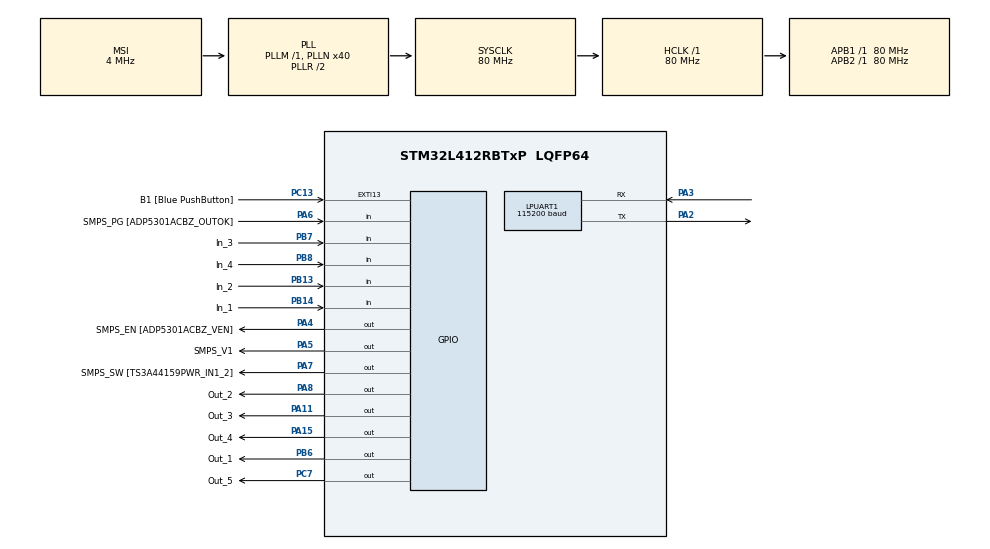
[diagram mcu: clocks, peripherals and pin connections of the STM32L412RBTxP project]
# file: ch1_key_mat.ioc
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LPUART1.BaudRate=115200
LPUART1.WordLength=UART_WORDLENGTH_8B
Mcu.Family=STM32L4
Mcu.Name=STM32L412RBTxP
Mcu.Package=LQFP64
NVIC.PriorityGroup=NVIC_PRIORITYGROUP_4
PA11.GPIO_Label=Out_3
PA11.GPIO_PuPd=GPIO_PULLUP
PA11.PinState=GPIO_PIN_RESET
PA11.Signal=GPIO_Output
PA13\ (JTMS/SWDIO).GPIO_Label=TMS
PA13\ (JTMS/SWDIO).Mode=Serial_Wire
PA13\ (JTMS/SWDIO).Signal=SYS_JTMS-SWDIO
PA14\ (JTCK/SWCLK).GPIO_Label=TCK
PA14\ (JTCK/SWCLK).Mode=Serial_Wire
PA14\ (JTCK/SWCLK).Signal=SYS_JTCK-SWCLK
PA15\ (JTDI).GPIO_Label=Out_4
PA15\ (JTDI).GPIO_PuPd=GPIO_PULLUP
PA15\ (JTDI).PinState=GPIO_PIN_RESET
PA15\ (JTDI).Signal=GPIO_Output
PA2.Mode=Asynchronous
PA2.Signal=LPUART1_TX
PA3.Mode=Asynchronous
PA3.Signal=LPUART1_RX
PA4.GPIO_Label=SMPS_EN [ADP5301ACBZ_VEN]
PA4.Signal=GPIO_Output
PA5.GPIO_Label=SMPS_V1
PA5.GPIO_ModeDefaultOutputPP=GPIO_MODE_OUTPUT_PP
PA5.GPIO_PuPd=GPIO_NOPULL
PA5.GPIO_Speed=GPIO_SPEED_FREQ_LOW
PA5.Signal=GPIO_Output
PA6.GPIO_Label=SMPS_PG [ADP5301ACBZ_OUTOK]
PA6.GPIO_PuPd=GPIO_PULLUP
PA6.Signal=GPIO_Input
PA7.GPIO_Label=SMPS_SW [TS3A44159PWR_IN1_2]
PA7.Signal=GPIO_Output
PA8.GPIO_Label=Out_2
PA8.GPIO_PuPd=GPIO_PULLUP
PA8.PinState=GPIO_PIN_RESET
PA8.Signal=GPIO_Output
PB13.GPIO_Label=In_2
PB13.GPIO_PuPd=GPIO_NOPULL
PB13.Signal=GPIO_Input
PB14.GPIO_Label=In_1
PB14.GPIO_PuPd=GPIO_NOPULL
PB14.Signal=GPIO_Input
PB3\ (JTDO/TRACESWO).GPIO_Label=SWO
PB3\ (JTDO/TRACESWO).Signal=SYS_JTDO-SWO
PB6.GPIO_Label=Out_1
PB6.GPIO_PuPd=GPIO_PULLUP
PB6.PinState=GPIO_PIN_RESET
PB6.Signal=GPIO_Output
PB7.GPIO_Label=In_3
PB7.GPIO_PuPd=GPIO_NOPULL
PB7.Signal=GPIO_Input
PB8.GPIO_Label=In_4
PB8.GPIO_PuPd=GPIO_NOPULL
PB8.Signal=GPIO_Input
PC13.GPIO_Label=B1 [Blue PushButton]
PC13.GPIO_ModeDefaultEXTI=GPIO_MODE_IT_FALLING
PC13.GPIO_PuPd=GPIO_NOPULL
PC13.Signal=GPXTI13
PC14-OSC32_IN\ (PC14).Mode=LSE-External-Oscillator
PC14-OSC32_IN\ (PC14).Signal=RCC_OSC32_IN
PC15-OSC32_OUT\ (PC15).Mode=LSE-External-Oscillator
PC15-OSC32_OUT\ (PC15).Signal=RCC_OSC32_OUT
PC7.GPIO_Label=Out_5
PC7.GPIO_ModeDefaultOutputPP=GPIO_MODE_OUTPUT_PP
PC7.GPIO_PuPd=GPIO_PULLUP
PC7.Signal=GPIO_Output
PH0-OSC_IN\ (PH0).GPIO_Label=MCO
PH0-OSC_IN\ (PH0).Mode=HSE-External-Clock-Source
PH0-OSC_IN\ (PH0).Signal=RCC_OSC_IN
PH1-OSC_OUT\ (PH1).Signal=RCC_OSC_OUT
ProjectManager.HeapSize=0x200
ProjectManager.StackSize=0x400
ProjectManager.TargetToolchain=STM32CubeIDE
RCC.ADCFreq_Value=80000000
RCC.AHBFreq_Value=80000000
RCC.APB1Freq_Value=80000000
RCC.APB1TimFreq_Value=80000000
RCC.APB2Freq_Value=80000000
RCC.APB2TimFreq_Value=80000000
RCC.CortexFreq_Value=80000000
RCC.FLatency=FLASH_LATENCY_4
RCC.HCLKFreq_Value=80000000
RCC.HSE_VALUE=8000000
RCC.HSI48_VALUE=48000000
RCC.HSICalibrationValue=64
RCC.HSI_VALUE=16000000
RCC.MSIAutoCalibration=DISABLED
RCC.MSI_VALUE=4000000
RCC.PLLN=40
RCC.PREFETCH_ENABLE=1
RCC.SYSCLKFreq_VALUE=80000000
RCC.SYSCLKSource=RCC_SYSCLKSOURCE_PLLCLK
RCC.USBFreq_Value=4000000
RCC.VCOOutputFreq_Value=160000000
board=NUCLEO-L412RB-P

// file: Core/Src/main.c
/* USER CODE BEGIN Header */
/**
  ******************************************************************************
  * @file           : main.c
  * @brief          : Main program body
  ******************************************************************************
  * @attention
  *
  * Copyright (c) 2026 STMicroelectronics.
  * All rights reserved.
  *
  * This software is licensed under terms that can be found in the LICENSE file
  * in the root directory of this software component.
  * If no LICENSE file comes with this software, it is provided AS-IS.
  *
  ******************************************************************************
  */
/* USER CODE END Header */
#include "main.h"

/* USER CODE BEGIN PD */
// #define SET_OUT1_PIN() \
//   set_all_rows_input(); \
//   set_row_output_1();
// #define SET_OUT2_PIN() \
//   set_all_rows_input(); \
//   set_row_output_2();
// #define SET_OUT3_PIN() \
//   set_all_rows_input(); \
//   set_row_output_3();
// #define SET_OUT5_PIN() \
//   set_all_rows_input(); \
//   set_row_output_5();

/* USER CODE END PD */

UART_HandleTypeDef hlpuart1;

void SystemClock_Config(void);
static void MX_GPIO_Init(void);
static void MX_LPUART1_UART_Init(void);

/* USER CODE BEGIN 0 */
//add
#include <stdio.h>
#include <string.h>
#include <unistd.h>

static uint8_t key[4][4];
static uint8_t prev_key[4][4];

static void scan_keypad_to_array(void);
static void process_press_events(void);
// input - output 변경 함수들
static void set_all_rows_input(void);
static void set_row_output_1(void);
static void set_row_output_2(void);
static void set_row_output_3(void);
static void set_row_output_5(void);

#define SET_OUT1_PIN() \
  set_all_rows_input(); \
  set_row_output_1();
#define SET_OUT2_PIN() \
  set_all_rows_input(); \
  set_row_output_2();
#define SET_OUT3_PIN() \
  set_all_rows_input(); \
  set_row_output_3();
#define SET_OUT5_PIN() \
  set_all_rows_input(); \
  set_row_output_5();

//UART로 출력 보내기 위한 함수
int _write(int file, char *ptr, int len)
{
  if (file == STDOUT_FILENO)
  {
    HAL_UART_Transmit(&hlpuart1, (uint8_t*)ptr, len, HAL_MAX_DELAY);
    return len;
  }
  return -1;
}

static void uart_print(const char *s)
{
  HAL_UART_Transmit(&hlpuart1, (uint8_t*)s, (uint16_t)strlen(s), HAL_MAX_DELAY);
}
/* USER CODE END 0 */

int main(void)
{

  /* MCU Configuration--------------------------------------------------------*/

  /* Reset of all peripherals, Initializes the Flash interface and the Systick. */
  HAL_Init();

  /* Configure the system clock */
  SystemClock_Config();

  /* Initialize all configured peripherals */
  MX_GPIO_Init();
  MX_LPUART1_UART_Init();
  /* USER CODE BEGIN 2 */

	// add
	// 이후로 정의 MX_GPIO_Init();

  //add -
  //memset 의미 확인하기
  memset(key, 0, sizeof(key));
  memset(prev_key, 0, sizeof(prev_key));

  uart_print("Keypad start\r\n");

  /* USER CODE END 2 */

  /* Infinite loop */
  while (1)
  {

    /* USER CODE BEGIN 3 */
    scan_keypad_to_array();
    process_press_events();

    HAL_Delay(20);
  }

  /* USER CODE END 3 */
}

void SystemClock_Config(void)
{
  RCC_OscInitTypeDef RCC_OscInitStruct = {0};
  RCC_ClkInitTypeDef RCC_ClkInitStruct = {0};

  /** Configure the main internal regulator output voltage
  */
  if (HAL_PWREx_ControlVoltageScaling(PWR_REGULATOR_VOLTAGE_SCALE1) != HAL_OK)
  {
    Error_Handler();
  }

  /** Initializes the RCC Oscillators according to the specified parameters
  * in the RCC_OscInitTypeDef structure.
  */
  RCC_OscInitStruct.OscillatorType = RCC_OSCILLATORTYPE_MSI;
  RCC_OscInitStruct.MSIState = RCC_MSI_ON;
  RCC_OscInitStruct.MSICalibrationValue = 0;
  RCC_OscInitStruct.MSIClockRange = RCC_MSIRANGE_6;
  RCC_OscInitStruct.PLL.PLLState = RCC_PLL_ON;
  RCC_OscInitStruct.PLL.PLLSource = RCC_PLLSOURCE_MSI;
  RCC_OscInitStruct.PLL.PLLM = 1;
  RCC_OscInitStruct.PLL.PLLN = 40;
  RCC_OscInitStruct.PLL.PLLQ = RCC_PLLQ_DIV2;
  RCC_OscInitStruct.PLL.PLLR = RCC_PLLR_DIV2;
  if (HAL_RCC_OscConfig(&RCC_OscInitStruct) != HAL_OK)
  {
    Error_Handler();
  }

  /** Initializes the CPU, AHB and APB buses clocks
  */
  RCC_ClkInitStruct.ClockType = RCC_CLOCKTYPE_HCLK|RCC_CLOCKTYPE_SYSCLK
                              |RCC_CLOCKTYPE_PCLK1|RCC_CLOCKTYPE_PCLK2;
  RCC_ClkInitStruct.SYSCLKSource = RCC_SYSCLKSOURCE_PLLCLK;
  RCC_ClkInitStruct.AHBCLKDivider = RCC_SYSCLK_DIV1;
  RCC_ClkInitStruct.APB1CLKDivider = RCC_HCLK_DIV1;
  RCC_ClkInitStruct.APB2CLKDivider = RCC_HCLK_DIV1;

  if (HAL_RCC_ClockConfig(&RCC_ClkInitStruct, FLASH_LATENCY_4) != HAL_OK)
  {
    Error_Handler();
  }
}

static void MX_LPUART1_UART_Init(void)
{

  hlpuart1.Instance = LPUART1;
  hlpuart1.Init.BaudRate = 115200;
  hlpuart1.Init.WordLength = UART_WORDLENGTH_8B;
  hlpuart1.Init.StopBits = UART_STOPBITS_1;
  hlpuart1.Init.Parity = UART_PARITY_NONE;
  hlpuart1.Init.Mode = UART_MODE_TX_RX;
  hlpuart1.Init.HwFlowCtl = UART_HWCONTROL_NONE;
  hlpuart1.Init.OneBitSampling = UART_ONE_BIT_SAMPLE_DISABLE;
  hlpuart1.AdvancedInit.AdvFeatureInit = UART_ADVFEATURE_NO_INIT;
  if (HAL_UART_Init(&hlpuart1) != HAL_OK)
  {
    Error_Handler();
  }

}

static void MX_GPIO_Init(void)
{
  GPIO_InitTypeDef GPIO_InitStruct = {0};

  /* GPIO Ports Clock Enable */
  __HAL_RCC_GPIOC_CLK_ENABLE();
  __HAL_RCC_GPIOH_CLK_ENABLE();
  __HAL_RCC_GPIOA_CLK_ENABLE();
  __HAL_RCC_GPIOB_CLK_ENABLE();

  /*Configure GPIO pin Output Level */
  HAL_GPIO_WritePin(GPIOA, SMPS_EN_Pin|SMPS_V1_Pin|SMPS_SW_Pin|Out_2_Pin
                          |Out_3_Pin|Out_4_Pin, GPIO_PIN_RESET);

  /*Configure GPIO pin Output Level */
  HAL_GPIO_WritePin(Out_5_GPIO_Port, Out_5_Pin, GPIO_PIN_RESET);

  /*Configure GPIO pin Output Level */
  HAL_GPIO_WritePin(Out_1_GPIO_Port, Out_1_Pin, GPIO_PIN_RESET);

  /*Configure GPIO pin : B1_Pin */
  GPIO_InitStruct.Pin = B1_Pin;
  GPIO_InitStruct.Mode = GPIO_MODE_IT_FALLING;
  GPIO_InitStruct.Pull = GPIO_NOPULL;
  HAL_GPIO_Init(B1_GPIO_Port, &GPIO_InitStruct);

  /*Configure GPIO pins : SMPS_EN_Pin SMPS_V1_Pin SMPS_SW_Pin Out_2_Pin
                           Out_3_Pin Out_4_Pin */
  GPIO_InitStruct.Pin = SMPS_EN_Pin|SMPS_V1_Pin|SMPS_SW_Pin|Out_2_Pin
                          |Out_3_Pin|Out_4_Pin;
  GPIO_InitStruct.Mode = GPIO_MODE_OUTPUT_PP;
  GPIO_InitStruct.Pull = GPIO_NOPULL;
  GPIO_InitStruct.Speed = GPIO_SPEED_FREQ_LOW;
  HAL_GPIO_Init(GPIOA, &GPIO_InitStruct);

  /*Configure GPIO pin : SMPS_PG_Pin */
  GPIO_InitStruct.Pin = SMPS_PG_Pin;
  GPIO_InitStruct.Mode = GPIO_MODE_INPUT;
  GPIO_InitStruct.Pull = GPIO_PULLUP;
  HAL_GPIO_Init(SMPS_PG_GPIO_Port, &GPIO_InitStruct);

  /*Configure GPIO pins : In_2_Pin In_1_Pin In_3_Pin In_4_Pin */
  GPIO_InitStruct.Pin = In_2_Pin|In_1_Pin|In_3_Pin|In_4_Pin;
  GPIO_InitStruct.Mode = GPIO_MODE_INPUT;
  GPIO_InitStruct.Pull = GPIO_PULLDOWN;
  HAL_GPIO_Init(GPIOB, &GPIO_InitStruct);

  /*Configure GPIO pin : Out_5_Pin */
  GPIO_InitStruct.Pin = Out_5_Pin;
  GPIO_InitStruct.Mode = GPIO_MODE_OUTPUT_PP;
  GPIO_InitStruct.Pull = GPIO_NOPULL;
  GPIO_InitStruct.Speed = GPIO_SPEED_FREQ_LOW;
  HAL_GPIO_Init(Out_5_GPIO_Port, &GPIO_InitStruct);

  /*Configure GPIO pin : Out_1_Pin */
  GPIO_InitStruct.Pin = Out_1_Pin;
  GPIO_InitStruct.Mode = GPIO_MODE_OUTPUT_PP;
  GPIO_InitStruct.Pull = GPIO_NOPULL;
  GPIO_InitStruct.Speed = GPIO_SPEED_FREQ_LOW;
  HAL_GPIO_Init(Out_1_GPIO_Port, &GPIO_InitStruct);

}

/* USER CODE BEGIN 4 */

static void scan_keypad_to_array(void)
{
  // GPIO_PinState 활용하는 것도 고려해보기
  //GPIO_PinState input[1], input_2, input_3, input_4;

  uint32_t input[4];

  //row 0
  SET_OUT1_PIN();
  HAL_Delay(5);

  input[0] = HAL_GPIO_ReadPin(In_1_GPIO_Port, In_1_Pin);
  input[1] = HAL_GPIO_ReadPin(In_2_GPIO_Port, In_2_Pin);
  input[2] = HAL_GPIO_ReadPin(In_3_GPIO_Port, In_3_Pin);
  input[3] = HAL_GPIO_ReadPin(In_4_GPIO_Port, In_4_Pin);

   for (uint8_t i = 0; i < 4; i++)
  {
    /* code */
    // (조건식) ?
    // 참일 때 1
    // 거짓일 때 0
    key[0][i] = (input[i]==1) ? 1 : 0 ;
  }
  HAL_Delay(50);

  //row 1
  SET_OUT2_PIN();
  HAL_Delay(5);

  input[0] = HAL_GPIO_ReadPin(In_1_GPIO_Port, In_1_Pin);
  input[1] = HAL_GPIO_ReadPin(In_2_GPIO_Port, In_2_Pin);
  input[2] = HAL_GPIO_ReadPin(In_3_GPIO_Port, In_3_Pin);
  input[3] = HAL_GPIO_ReadPin(In_4_GPIO_Port, In_4_Pin);

  for (uint8_t i = 0; i < 4; i++)
  {
    /* code */
    // (조건식) ?
    // 참일 때 1
    // 거짓일 때 0
    key[1][i] = (input[i]==1) ? 1 : 0 ;
  }
  HAL_Delay(50);

  //row 2
  SET_OUT3_PIN();
  HAL_Delay(5);

  input[0] = HAL_GPIO_ReadPin(In_1_GPIO_Port, In_1_Pin);
  input[1] = HAL_GPIO_ReadPin(In_2_GPIO_Port, In_2_Pin);
  input[2] = HAL_GPIO_ReadPin(In_3_GPIO_Port, In_3_Pin);
  input[3] = HAL_GPIO_ReadPin(In_4_GPIO_Port, In_4_Pin);

  for (uint8_t i = 0; i < 4; i++)
  {
    /* code */
    // (조건식) ?
    // 참일 때 1
    // 거짓일 때 0
    key[2][i] = (input[i]==1) ? 1 : 0 ;
  }
  HAL_Delay(50);

  //row 3
  SET_OUT5_PIN();
  HAL_Delay(5);

  input[0] = HAL_GPIO_ReadPin(In_1_GPIO_Port, In_1_Pin);
  input[1] = HAL_GPIO_ReadPin(In_2_GPIO_Port, In_2_Pin);
  input[2] = HAL_GPIO_ReadPin(In_3_GPIO_Port, In_3_Pin);
  input[3] = HAL_GPIO_ReadPin(In_4_GPIO_Port, In_4_Pin);

  for (uint8_t i = 0; i < 4; i++)
  {
    /* code */
    // (조건식) ?
    // 참일 때 1
    // 거짓일 때 0
    key[3][i] = (input[i]==1) ? 1 : 0 ;
  }
  HAL_Delay(50);

}

// 함수 수정 필요
// 어떤 것을 수정해야할지 확인하기
static void process_press_events(void)
{
  for (uint8_t r = 0; r < 4; r++)
  {
    for (uint8_t c = 0; c < 4; c++)
    {
      //press
      // 0 -> 1
      if(key[r][c] && !prev_key[r][c])
      {
        printf("(%d,%d) pressed \r\n",c,r);
      }
      //released
      // 1 -> 0
      else if(!key[r][c] && prev_key[r][c])
      {
        printf("(%d,%d) released \r\n",c,r);
      }
    }
  }
  // prev_key에 key값 보냄
  // 메모리값 통째로 보내는 함수
  memcpy(prev_key,key,sizeof(key));
}

static inline void set_row(uint8_t row)
{
    HAL_GPIO_WritePin(Out_1_GPIO_Port, Out_1_Pin, (row == 0) ? GPIO_PIN_SET : GPIO_PIN_RESET);
    HAL_GPIO_WritePin(Out_2_GPIO_Port, Out_2_Pin, (row == 1) ? GPIO_PIN_SET : GPIO_PIN_RESET);
    HAL_GPIO_WritePin(Out_3_GPIO_Port, Out_3_Pin, (row == 2) ? GPIO_PIN_SET : GPIO_PIN_RESET);
    HAL_GPIO_WritePin(Out_5_GPIO_Port, Out_5_Pin, (row == 3) ? GPIO_PIN_SET : GPIO_PIN_RESET);
}
// input으로 설정하여 High-Z 갖도록 함
static void set_all_rows_input(void)
{
  GPIO_InitTypeDef GPIO_InitStruct = {0};

  // Out_1 ~ Out_4 전부 INPUT
  // gpio 핀 확인하기 -> 판마다 설정 다름
  GPIO_InitStruct.Pin = Out_1_Pin;
  GPIO_InitStruct.Mode = GPIO_MODE_INPUT;
  GPIO_InitStruct.Pull = GPIO_PULLDOWN;
  HAL_GPIO_Init(Out_1_GPIO_Port, &GPIO_InitStruct);

  GPIO_InitStruct.Pin = Out_2_Pin|Out_3_Pin;
  GPIO_InitStruct.Mode = GPIO_MODE_INPUT;
  GPIO_InitStruct.Pull = GPIO_PULLDOWN;
  HAL_GPIO_Init(GPIOA, &GPIO_InitStruct);

  GPIO_InitStruct.Pin = Out_5_Pin;
  GPIO_InitStruct.Mode = GPIO_MODE_INPUT;
  GPIO_InitStruct.Pull = GPIO_PULLDOWN;
  HAL_GPIO_Init(Out_5_GPIO_Port, &GPIO_InitStruct);

}
// 1개 핀만 output 설정
static void set_row_output_1(void)
{
  GPIO_InitTypeDef GPIO_InitStruct = {0};
  // 해당 row만 OUTPUT
  // HIGH 또는 LOW 출력
  /*Configure GPIO pin : Out_1_Pin */
  GPIO_InitStruct.Pin = Out_1_Pin;
  GPIO_InitStruct.Mode = GPIO_MODE_OUTPUT_PP;
  GPIO_InitStruct.Pull = GPIO_NOPULL;
  GPIO_InitStruct.Speed = GPIO_SPEED_FREQ_LOW;
  HAL_GPIO_Init(Out_1_GPIO_Port, &GPIO_InitStruct);
  // high로 set
  HAL_GPIO_WritePin(Out_1_GPIO_Port, Out_1_Pin, GPIO_PIN_SET);
}
static void set_row_output_2(void)
{
  GPIO_InitTypeDef GPIO_InitStruct = {0};
  // 해당 row만 OUTPUT
  // HIGH 또는 LOW 출력
  //out 2번
  GPIO_InitStruct.Pin = Out_2_Pin;
  GPIO_InitStruct.Mode = GPIO_MODE_OUTPUT_PP;
  GPIO_InitStruct.Pull = GPIO_NOPULL;
  GPIO_InitStruct.Speed = GPIO_SPEED_FREQ_LOW;
  HAL_GPIO_Init(GPIOA, &GPIO_InitStruct);
  // high로 set
  HAL_GPIO_WritePin(Out_2_GPIO_Port, Out_2_Pin, GPIO_PIN_SET);
}
static void set_row_output_3(void)
{
  GPIO_InitTypeDef GPIO_InitStruct = {0};
  // 해당 row만 OUTPUT
  // HIGH 또는 LOW 출력
  //out 3번
  GPIO_InitStruct.Pin = Out_3_Pin;
  GPIO_InitStruct.Mode = GPIO_MODE_OUTPUT_PP;
  GPIO_InitStruct.Pull = GPIO_NOPULL;
  GPIO_InitStruct.Speed = GPIO_SPEED_FREQ_LOW;
  HAL_GPIO_Init(GPIOA, &GPIO_InitStruct);
  // high로 set
  HAL_GPIO_WritePin(Out_3_GPIO_Port, Out_3_Pin, GPIO_PIN_SET);
}
static void set_row_output_5(void)
{
  GPIO_InitTypeDef GPIO_InitStruct = {0};
  // 해당 row만 OUTPUT
  // HIGH 또는 LOW 출력
  /*Configure GPIO pin : Out_5_Pin */
  GPIO_InitStruct.Pin = Out_5_Pin;
  GPIO_InitStruct.Mode = GPIO_MODE_OUTPUT_PP;
  GPIO_InitStruct.Pull = GPIO_NOPULL;
  GPIO_InitStruct.Speed = GPIO_SPEED_FREQ_LOW;
  HAL_GPIO_Init(Out_5_GPIO_Port, &GPIO_InitStruct);
  // high로 set
  HAL_GPIO_WritePin(Out_5_GPIO_Port, Out_5_Pin, GPIO_PIN_SET);
}

/* USER CODE END 4 */

void Error_Handler(void)
{
  __disable_irq();
  while (1)
  {
  }
}
